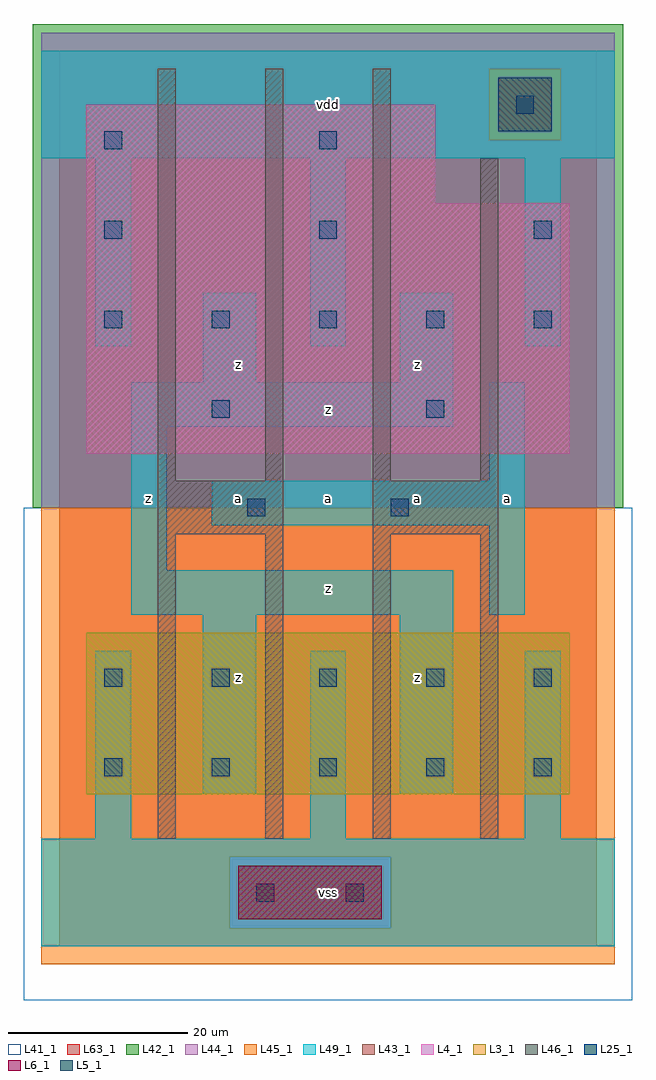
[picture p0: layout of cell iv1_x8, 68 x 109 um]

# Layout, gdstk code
import gdstk
lib = gdstk.Library(unit=1e-6, precision=1e-09)
def R(c, l, rs):  # rectangles x0, y0, x1, y1
    for r in rs: c.add(gdstk.rectangle(r[:2], r[2:], *l))
def A(c, l, x, y, w, h, nx, ny, dx, dy):  # array of equal rectangles
    R(c, l, [(x+i*dx, y+j*dy, x+i*dx+w, y+j*dy+h) for i in range(nx) for j in range(ny)])
L3_1 = (3, 1)
L4_1 = (4, 1)
L5_1 = (5, 1)
L6_1 = (6, 1)
L25_1 = (25, 1)
L41_1 = (41, 1)
L42_1 = (42, 1)
L43_1 = (43, 1)
L44_1 = (44, 1)
L45_1 = (45, 1)
L46_1 = (46, 1)
L49_1 = (49, 1)
L63_1 = (63, 1)

iv1_x8 = lib.new_cell('iv1_x8')
R(iv1_x8, L3_1, [(3,17,57,35)])
R(iv1_x8, L4_1, [(3,55,57,83), (3,83,42,94)])
R(iv1_x8, L5_1, [(49,91,55,97)])
R(iv1_x8, L6_1, [(20,3,36,9)])
A(iv1_x8, L25_1, 5, 19, 2, 2, 5, 2, 12, 10)
A(iv1_x8, L25_1, 5, 69, 2, 2, 5, 1, 12, 0)
A(iv1_x8, L25_1, 5, 79, 2, 2, 3, 1, 24, 0)
R(iv1_x8, L25_1, [(22,5,24,7), (32,5,34,7), (21,48,23,50), (37,48,39,50), (17,59,19,61), (41,59,43,61), (5,89,7,91), (29,89,31,91), (51,93,53,95)])
R(iv1_x8, L41_1, [(-4,-6,64,49), (-3,-3,63,49)])
R(iv1_x8, L42_1, [(-3,49,63,103)])
R(iv1_x8, L43_1, [(20,3,36,9), (3,17,57,35), (3,55,57,83), (3,83,42,94), (49,91,55,97)])
R(iv1_x8, L44_1, [(19,2,37,10), (-2,49,62,90), (-2,90,48,98), (56,90,62,98), (-2,98,62,102)])
R(iv1_x8, L45_1, [(-2,-2,62,2), (-2,2,19,10), (37,2,62,10), (-2,10,62,49), (48,90,56,98)])
A(iv1_x8, L46_1, 11, 12, 2, 34, 4, 1, 12, 0)
A(iv1_x8, L46_1, 11, 52, 2, 46, 3, 1, 12, 0)
R(iv1_x8, L46_1, [(11,46,25,52), (35,46,49,52), (47,52,49,88)])
A(iv1_x8, L49_1, 4, 12, 4, 21, 3, 2, 24, 55)
R(iv1_x8, L49_1, [(-2,0,62,12), (16,17,22,37), (38,17,44,37), (8,37,44,42), (48,37,52,47), (8,42,12,58), (17,47,52,52), (48,52,52,63), (8,58,44,63), (16,63,22,73), (38,63,44,73), (-2,88,62,100)])
R(iv1_x8, L63_1, [(0,0,60,100)])
iv1_x8.add(gdstk.Label('z', (20,30), layer=49, texttype=1))
iv1_x8.add(gdstk.Label('z', (20,30), layer=49, texttype=1))
iv1_x8.add(gdstk.Label('z', (10,50), layer=49, texttype=1))
iv1_x8.add(gdstk.Label('z', (10,50), layer=49, texttype=1))
iv1_x8.add(gdstk.Label('a', (20,50), layer=49, texttype=1))
iv1_x8.add(gdstk.Label('a', (20,50), layer=49, texttype=1))
iv1_x8.add(gdstk.Label('z', (20,65), layer=49, texttype=1))
iv1_x8.add(gdstk.Label('z', (20,65), layer=49, texttype=1))
iv1_x8.add(gdstk.Label('vss', (30,6), layer=49, texttype=1))
iv1_x8.add(gdstk.Label('vss', (30,6), layer=49, texttype=1))
iv1_x8.add(gdstk.Label('z', (30,40), layer=49, texttype=1))
iv1_x8.add(gdstk.Label('z', (30,40), layer=49, texttype=1))
iv1_x8.add(gdstk.Label('a', (30,50), layer=49, texttype=1))
iv1_x8.add(gdstk.Label('a', (30,50), layer=49, texttype=1))
iv1_x8.add(gdstk.Label('z', (30,60), layer=49, texttype=1))
iv1_x8.add(gdstk.Label('z', (30,60), layer=49, texttype=1))
iv1_x8.add(gdstk.Label('vdd', (30,94), layer=49, texttype=1))
iv1_x8.add(gdstk.Label('vdd', (30,94), layer=49, texttype=1))
iv1_x8.add(gdstk.Label('z', (40,30), layer=49, texttype=1))
iv1_x8.add(gdstk.Label('z', (40,30), layer=49, texttype=1))
iv1_x8.add(gdstk.Label('a', (40,50), layer=49, texttype=1))
iv1_x8.add(gdstk.Label('a', (40,50), layer=49, texttype=1))
iv1_x8.add(gdstk.Label('z', (40,65), layer=49, texttype=1))
iv1_x8.add(gdstk.Label('z', (40,65), layer=49, texttype=1))
iv1_x8.add(gdstk.Label('a', (50,50), layer=49, texttype=1))
iv1_x8.add(gdstk.Label('a', (50,50), layer=49, texttype=1))

lib.write_gds('iv1_x8.gds')
